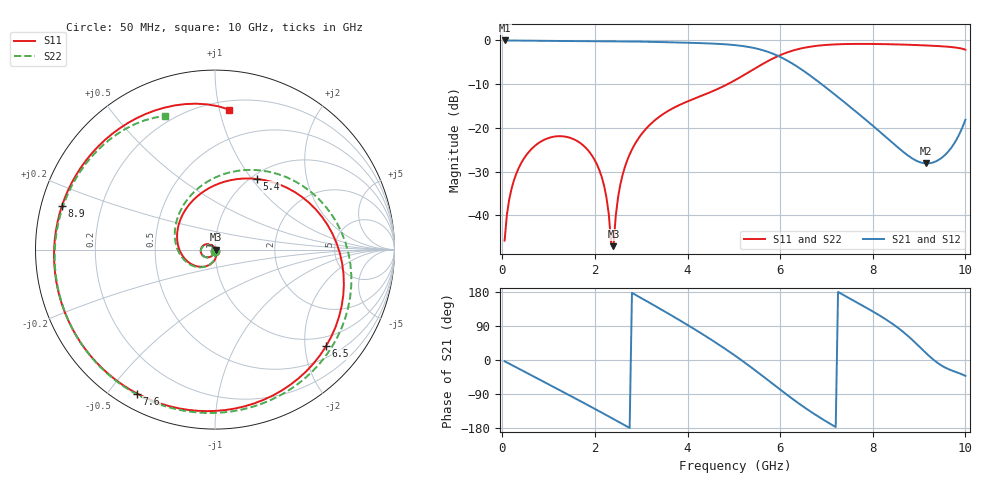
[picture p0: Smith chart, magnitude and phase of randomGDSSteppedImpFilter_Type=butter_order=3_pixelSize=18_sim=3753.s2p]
! freq	dB(S11)	phase(S11)	dB(S12)	phase(S12)
!  dB(S21)	phase(S21)	dB(S22)	phase(S22)
!S-par simulation data
#  GHz  S  DB  R 50
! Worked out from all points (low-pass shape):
!   200 points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, 50 MHz to 10 GHz, reference 50 ohm
!   highest |S21| = -0.01 dB at 50 MHz (marker M1); lowest = -28.1 dB at 9.15 GHz (marker M2)
!   |S21| within 3 dB of the highest: start of sweep to 5.836 GHz
!   lowest |S11| = -47.1 dB at 2.4 GHz (marker M3), VSWR 1.01, Z = 50.4 - j0.123 ohm
!   |S11| at or under -10 dB: start of sweep to 4.867 GHz
!   |S22| runs from -48.2 to -0.8 dB; largest |S21 - S12| = 0
!   S11 on the Smith chart (normalised r, x): 50 MHz: 1.00, -0.01; 5.4 GHz: 1.07, +1.06; 6.5 GHz: 0.75, -2.47; 7.6 GHz: 0.06, -0.59; 8.9 GHz: 0.06, +0.14; 10 GHz: 0.27, +1.07
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0.05  -45.81 -89.2  -0.01 -3.3  -0.01 -3.3  -45.81 -89.0
0.2  -33.94 -101.9  -0.02 -12.9  -0.02 -12.9  -33.94 -101.5
0.55  -25.81 -126.0  -0.06 -35.4  -0.06 -35.4  -25.81 -125.2
1.15  -21.97 -165.8  -0.12 -73.8  -0.12 -73.8  -21.98 -163.6
1.75  -24.05 153.7  -0.15 -112.7  -0.15 -112.7  -24.08 158.6
2.15  -31.35 122.9  -0.17 -139.0  -0.17 -139.0  -31.46 135.6
2.35  -46.26 70.9  -0.18 -152.3  -0.18 -152.3  -47.89 156.0
2.4  -47.09 -16.0  -0.19 -155.7  -0.19 -155.7  -48.15 -104.8
2.5  -35.88 -61.9  -0.20 -162.4  -0.20 -162.4  -35.83 -80.8
2.65  -28.89 -78.9  -0.22 -172.6  -0.22 -172.6  -28.83 -86.1
3.4  -17.39 -136.0  -0.37 135.6  -0.37 135.6  -17.37 -133.7
4.2  -13.10 162.7  -0.59 77.6  -0.59 77.6  -13.08 170.9
5.05  -8.96 90.9  -1.10 9.4  -1.10 9.4  -8.96 104.7
5.4  -6.78 59.1  -1.66 -21.7  -1.66 -21.7  -6.79 73.7
5.9  -3.85 12.4  -3.29 -68.6  -3.29 -68.6  -3.86 26.5
6.5  -1.72 -41.1  -6.93 -123.0  -6.93 -123.0  -1.72 -28.0
6.7  -1.36 -57.1  -8.45 -139.5  -8.45 -139.5  -1.35 -44.3
7.6  -0.80 -118.4  -15.98 155.6  -15.98 155.6  -0.77 -105.4
8.35  -0.87 -162.8  -22.72 101.8  -22.72 101.8  -0.82 -147.7
8.9  -1.04 164.2  -27.31 47.8  -27.31 47.8  -0.97 -177.9
9.15  -1.15 148.3  -28.15 18.2  -28.15 18.2  -1.08 167.8
10  -2.12 84.1  -18.16 -42.0  -18.16 -42.0  -2.00 110.4
